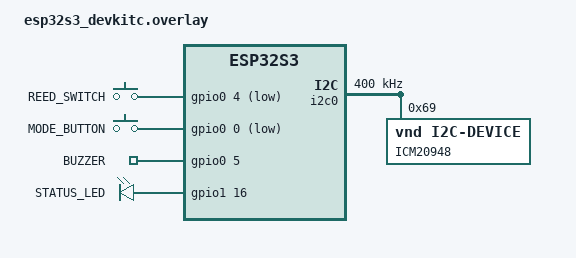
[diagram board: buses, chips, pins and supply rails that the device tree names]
/*
 * boards/esp32s3_devkitc.overlay
 * Gear Guardian hardware configuration for ESP32-S3 DevKitC-1
 *
 * This overlay adds and configures all peripheral nodes used by the project.
 * Pin assignments marked "TODO: confirm wiring" should be verified against
 * your physical wiring before flashing to hardware.
 *
 * ESP32-S3 GPIO bank notes:
 *   GPIO pins 0–31  → &gpio0
 *   GPIO pins 32–   → &gpio1 with index (pin - 32)
 *   Example: GPIO38 → <&gpio1 6 ...>  (38 - 32 = 6)
 *
 * Zephyr board target: esp32s3_devkitc/esp32s3/procpu
 *
 * TODO items are prefixed with "TODO:" in comments throughout this file.
 */

/* ===========================================================================
 * I2C0 — ICM-20948 IMU
 *
 * Default I2C0 pins on ESP32-S3 DevKitC-1 (check your Zephyr board file):
 *   SDA = GPIO8
 *   SCL = GPIO9
 * TODO: confirm these match the i2c0 pinctrl in esp32s3_devkitc-pinctrl.dtsi
 * =========================================================================== */
&i2c0 {
    status = "okay";
    clock-frequency = <I2C_BITRATE_FAST>; /* 400 kHz */

    /*
     * ICM-20948 I2C device node.
     *
     * There is no upstream Zephyr binding for ICM-20948 as of Zephyr 3.6.
     * We use the generic "vnd,i2c-device" compatible for address reservation.
     * The driver accesses the bus directly via the parent i2c0 device reference
     * obtained through DT_NODELABEL(i2c0) in icm20948.c.
     *
     * TODO: once an upstream binding exists, update compatible string.
     */
    icm20948_dev: icm20948@69 {
        compatible = "vnd,i2c-device";
        reg = <0x69>;
        label = "ICM20948";
        status = "okay";
    };
};

/* ===========================================================================
 * SPI2 — SSD1306 OLED display (DISABLED until hardware is connected)
 *
 * TODO (Phase 2): uncomment when OLED is wired. Also re-enable in prj.conf:
 *   CONFIG_DISPLAY=y
 *   CONFIG_SSD1306=y
 *
 * Pins (confirm before enabling):
 *   MOSI=GPIO11  SCLK=GPIO12  CS=GPIO10  DC=GPIO13  RST=GPIO14
 *
 * NOTE: verify compatible string — may be "solomon,ssd1306" (no "fb") in
 *       your Zephyr version. Run: grep -r ssd1306 $ZEPHYR_BASE/dts/bindings/
 * =========================================================================== */
/* &spi2 { ... } — deferred until Phase 2 hardware bring-up */

/* ===========================================================================
 * SPI3 — microSD card (DISABLED until hardware is connected)
 *
 * TODO (Phase 2): uncomment when SD module is wired. Also re-enable in prj.conf:
 *   CONFIG_DISK_DRIVER_SDMMC=y  (or CONFIG_DISK_DRIVER_SDMMC_SPI=y)
 *
 * Pins (confirm before enabling):
 *   MOSI=GPIO35  MISO=GPIO37  SCLK=GPIO36  CS=GPIO38 (gpio1 pin 6)
 *
 * NOTE: cs-gpios belongs on the SPI controller node, not the child device,
 *       in Zephyr 4.x. Re-verify binding before enabling.
 * =========================================================================== */
/* &spi3 { ... } — deferred until Phase 2 hardware bring-up */

/* ===========================================================================
 * GPIO inputs and outputs
 *
 * The aliases section maps short names to DT nodes.  Driver code accesses
 * hardware via DT_ALIAS() so only the overlay needs updating when wiring
 * changes.
 * =========================================================================== */
/ {
    aliases {
        reed-switch = &reed_switch_node;
        mode-btn    = &mode_button_node;
        buzzer      = &buzzer_node;
        led0        = &status_led_node;
    };

    /*
     * GPIO inputs — represented as gpio-keys nodes so Zephyr's gpio_dt_spec
     * API (gpio_pin_configure_dt, gpio_add_callback) works cleanly.
     */
    gpio_inputs {
        compatible = "gpio-keys";

        reed_switch_node: reed_switch {
            /*
             * Magnetic reed switch, wired normally-closed.
             * Active LOW: reads 0 when magnet is present (bag sealed).
             * Pull-up keeps pin HIGH when switch is open (bag opened).
             * TODO: confirm GPIO4 matches your wiring.
             */
            gpios = <&gpio0 4 (GPIO_ACTIVE_LOW | GPIO_PULL_UP)>;
            label = "REED_SWITCH";
        };

        mode_button_node: mode_button {
            /*
             * GPIO0 = the BOOT button on the ESP32-S3 DevKitC-1 PCB.
             * Convenient dual-use: boot button for flashing + mode select.
             * Hold during power-on to enter DIAGNOSTIC MODE.
             * TODO: wire an external button if GPIO0 conflicts with other use.
             */
            gpios = <&gpio0 0 (GPIO_ACTIVE_LOW | GPIO_PULL_UP)>;
            label = "MODE_BUTTON";
        };
    };

    /*
     * GPIO outputs — represented as gpio-leds nodes (Zephyr convention for
     * simple GPIO outputs; works with gpio_dt_spec for buzzer too).
     */
    gpio_outputs {
        compatible = "gpio-leds";

        buzzer_node: buzzer {
            /*
             * Active buzzer: drive HIGH to sound, LOW to silence.
             * TODO: confirm GPIO5 and verify 3.3V GPIO can drive your buzzer
             * module directly, or add a transistor driver stage.
             */
            gpios = <&gpio0 5 GPIO_ACTIVE_HIGH>;
            label = "BUZZER";
        };

        status_led_node: led0 {
            /*
             * Onboard RGB LED on the DevKitC-1 is on GPIO48.
             * GPIO48 = gpio1 pin 16 (48-32=16).
             * Blue channel used as status indicator.
             * TODO: confirm GPIO48 is the correct RGB LED pin for your board
             *       revision.  Some revisions use a different pin.
             */
            gpios = <&gpio1 16 GPIO_ACTIVE_HIGH>;
            label = "STATUS_LED";
        };
    };
};

/* ===========================================================================
 * Flash partitions — no overlay needed
 *
 * The ESP32-S3 DevKitC board DTS already defines all required partitions
 * including boot_partition, slot0_partition, and storage_partition.
 * NVS (boot_metadata.c) will use the existing storage_partition label.
 *
 * TODO: after a successful build, inspect build/zephyr/zephyr.dts to confirm
 *       the storage_partition address and size are suitable for NVS.
 * =========================================================================== */
